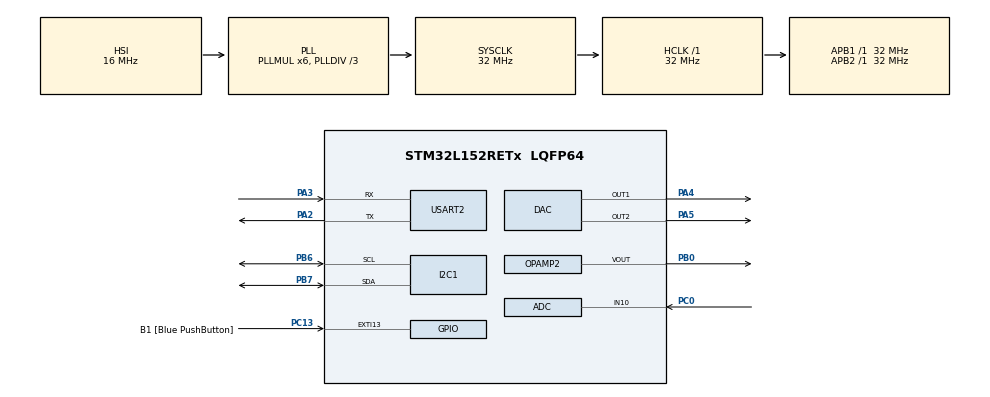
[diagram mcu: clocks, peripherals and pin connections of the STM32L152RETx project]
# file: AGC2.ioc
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ADC.Channel-83\#ChannelRegularConversion=ADC_CHANNEL_10
ADC.NbrOfConversionFlag=1
ADC.Rank-83\#ChannelRegularConversion=1
ADC.SamplingTime-83\#ChannelRegularConversion=ADC_SAMPLETIME_4CYCLES
FREERTOS.Mutexes01=UART_Mutex,Dynamic,NULL
FREERTOS.Tasks01=AGCTask,0,128,StartAGCTask,Default,NULL,Dynamic,NULL,NULL;ScienceTask,-3,128,StartScienceTask,Default,NULL,Dynamic,NULL,NULL
Mcu.Family=STM32L1
Mcu.Name=STM32L152RETx
Mcu.Package=LQFP64
NVIC.PriorityGroup=NVIC_PRIORITYGROUP_4
NVIC.TIM3_IRQn=true\:0\:0\:false\:false\:true\:false\:false
NVIC.TimeBase=TIM3_IRQn
NVIC.TimeBaseIP=TIM3
PA0-WKUP1.Mode=SYS_WakeUp0
PA0-WKUP1.Signal=SYS_WKUP1
PA13.GPIO_Label=TMS
PA13.Mode=Serial_Wire
PA13.Signal=SYS_JTMS-SWDIO
PA14.GPIO_Label=TCK
PA14.Mode=Serial_Wire
PA14.Signal=SYS_JTCK-SWCLK
PA2.Mode=Asynchronous
PA2.Signal=USART2_TX
PA3.Mode=Asynchronous
PA3.Signal=USART2_RX
PA4.Signal=COMP_DAC1_group
PA5.Signal=COMP_DAC2_group
PB0.Mode=Follower-DAC_OUT2-INP
PB0.Signal=OPAMP2_VOUT
PB3.GPIO_Label=SWO
PB3.Signal=SYS_JTDO-TRACESWO
PB6.Mode=I2C
PB6.Signal=I2C1_SCL
PB7.Mode=I2C
PB7.Signal=I2C1_SDA
PC0.Mode=IN10
PC0.Signal=ADC_IN10
PC13-WKUP2.GPIO_Label=B1 [Blue PushButton]
PC13-WKUP2.Signal=GPXTI13
PC14-OSC32_IN.Signal=RCC_OSC32_IN
PC15-OSC32_OUT.Signal=RCC_OSC32_OUT
PH0-OSC_IN.Signal=RCC_OSC_IN
PH1-OSC_OUT.Signal=RCC_OSC_OUT
ProjectManager.HeapSize=0x200
ProjectManager.StackSize=0x400
ProjectManager.TargetToolchain=MDK-ARM V5
RCC.48MHZClocksFreq_Value=48000000
RCC.AHBFreq_Value=32000000
RCC.APB1Freq_Value=32000000
RCC.APB1TimFreq_Value=32000000
RCC.APB2Freq_Value=32000000
RCC.APB2TimFreq_Value=32000000
RCC.HCLKFreq_Value=32000000
RCC.HSE_VALUE=8000000
RCC.HSI_VALUE=16000000
RCC.LSE_VALUE=32768
RCC.MSI_VALUE=2097000
RCC.PLLDIV=RCC_PLL_DIV3
RCC.PLLMUL=RCC_PLL_MUL6
RCC.RTCClockSelectionVirtual=RCC_RTCCLKSOURCE_LSE
RCC.SYSCLKFreq_VALUE=32000000
RCC.SYSCLKSource=RCC_SYSCLKSOURCE_PLLCLK
RCC.USBOutput=48000000
RCC.VCOOutputFreq_Value=96000000
SH.COMP_DAC1_group.0=DAC_OUT1,DAC_OUT1
SH.COMP_DAC2_group.0=DAC_OUT2,DAC_OUT2
USART2.VirtualMode=VM_ASYNC
VP_FREERTOS_VS_ENABLE.Mode=Enabled
VP_SYS_VS_tim3.Mode=TIM3
VP_TIM11_VS_ClockSourceINT.Mode=Internal
board=NUCLEO-L152RE

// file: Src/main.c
/* USER CODE BEGIN Header */
/**
  ******************************************************************************
  * @file           : main.c
  * @brief          : Main program body
  ******************************************************************************
  * This notice applies to any and all portions of this file
  * that are not between comment pairs USER CODE BEGIN and
  * USER CODE END. Other portions of this file, whether
  * inserted by the user or by software development tools
  * are owned by their respective copyright owners.
  *
  * Copyright (c) 2019 STMicroelectronics International N.V.
  * All rights reserved.
  *
  * Redistribution and use in source and binary forms, with or without
  * modification, are permitted, provided that the following conditions are met:
  *
  * 1. Redistribution of source code must retain the above copyright notice,
  *    this list of conditions and the following disclaimer.
  * 2. Redistributions in binary form must reproduce the above copyright notice,
  *    this list of conditions and the following disclaimer in the documentation
  *    and/or other materials provided with the distribution.
  * 3. Neither the name of STMicroelectronics nor the names of other
  *    contributors to this software may be used to endorse or promote products
  *    derived from this software without specific written permission.
  * 4. This software, including modifications and/or derivative works of this
  *    software, must execute solely and exclusively on microcontroller or
  *    microprocessor devices manufactured by or for STMicroelectronics.
  * 5. Redistribution and use of this software other than as permitted under
  *    this license is void and will automatically terminate your rights under
  *    this license.
  *
  * THIS SOFTWARE IS PROVIDED BY STMICROELECTRONICS AND CONTRIBUTORS "AS IS"
  * AND ANY EXPRESS, IMPLIED OR STATUTORY WARRANTIES, INCLUDING, BUT NOT
  * LIMITED TO, THE IMPLIED WARRANTIES OF MERCHANTABILITY, FITNESS FOR A
  * PARTICULAR PURPOSE AND NON-INFRINGEMENT OF THIRD PARTY INTELLECTUAL PROPERTY
  * RIGHTS ARE DISCLAIMED TO THE FULLEST EXTENT PERMITTED BY LAW. IN NO EVENT
  * SHALL STMICROELECTRONICS OR CONTRIBUTORS BE LIABLE FOR ANY DIRECT, INDIRECT,
  * INCIDENTAL, SPECIAL, EXEMPLARY, OR CONSEQUENTIAL DAMAGES (INCLUDING, BUT NOT
  * LIMITED TO, PROCUREMENT OF SUBSTITUTE GOODS OR SERVICES; LOSS OF USE, DATA,
  * OR PROFITS; OR BUSINESS INTERRUPTION) HOWEVER CAUSED AND ON ANY THEORY OF
  * LIABILITY, WHETHER IN CONTRACT, STRICT LIABILITY, OR TORT (INCLUDING
  * NEGLIGENCE OR OTHERWISE) ARISING IN ANY WAY OUT OF THE USE OF THIS SOFTWARE,
  * EVEN IF ADVISED OF THE POSSIBILITY OF SUCH DAMAGE.
  *
  ******************************************************************************
  */
/* USER CODE END Header */

#include "main.h"
#include "cmsis_os.h"
#include "adc.h"
#include "dac.h"
#include "i2c.h"
#include "opamp.h"
#include "tim.h"
#include "usart.h"
#include "gpio.h"

void SystemClock_Config(void);
void MX_FREERTOS_Init(void);

int main(void)
{

  /* MCU Configuration--------------------------------------------------------*/

  /* Reset of all peripherals, Initializes the Flash interface and the Systick. */
  HAL_Init();

  /* Configure the system clock */
  SystemClock_Config();

  /* USER CODE BEGIN SysInit */
	__HAL_RCC_DAC_CLK_ENABLE();
  /* USER CODE END SysInit */

  /* Initialize all configured peripherals */
  MX_GPIO_Init();
  MX_DAC_Init();
  MX_OPAMP2_Init();
  MX_ADC_Init();
  MX_USART2_UART_Init();
  MX_TIM11_Init();
  MX_I2C1_Init();

  /* Call init function for freertos objects (in freertos.c) */
  MX_FREERTOS_Init();

  /* Start scheduler */
  osKernelStart();

  /* We should never get here as control is now taken by the scheduler */

  /* Infinite loop */
  while (1)
  {

  }
}

void SystemClock_Config(void)
{
  RCC_OscInitTypeDef RCC_OscInitStruct = {0};
  RCC_ClkInitTypeDef RCC_ClkInitStruct = {0};

  /**Configure the main internal regulator output voltage
  */
  __HAL_PWR_VOLTAGESCALING_CONFIG(PWR_REGULATOR_VOLTAGE_SCALE1);
  /**Initializes the CPU, AHB and APB busses clocks
  */
  RCC_OscInitStruct.OscillatorType = RCC_OSCILLATORTYPE_HSI;
  RCC_OscInitStruct.HSIState = RCC_HSI_ON;
  RCC_OscInitStruct.HSICalibrationValue = RCC_HSICALIBRATION_DEFAULT;
  RCC_OscInitStruct.PLL.PLLState = RCC_PLL_ON;
  RCC_OscInitStruct.PLL.PLLSource = RCC_PLLSOURCE_HSI;
  RCC_OscInitStruct.PLL.PLLMUL = RCC_PLL_MUL6;
  RCC_OscInitStruct.PLL.PLLDIV = RCC_PLL_DIV3;
  if (HAL_RCC_OscConfig(&RCC_OscInitStruct) != HAL_OK)
  {
    Error_Handler();
  }
  /**Initializes the CPU, AHB and APB busses clocks
  */
  RCC_ClkInitStruct.ClockType = RCC_CLOCKTYPE_HCLK|RCC_CLOCKTYPE_SYSCLK
                              |RCC_CLOCKTYPE_PCLK1|RCC_CLOCKTYPE_PCLK2;
  RCC_ClkInitStruct.SYSCLKSource = RCC_SYSCLKSOURCE_PLLCLK;
  RCC_ClkInitStruct.AHBCLKDivider = RCC_SYSCLK_DIV1;
  RCC_ClkInitStruct.APB1CLKDivider = RCC_HCLK_DIV1;
  RCC_ClkInitStruct.APB2CLKDivider = RCC_HCLK_DIV1;

  if (HAL_RCC_ClockConfig(&RCC_ClkInitStruct, FLASH_LATENCY_1) != HAL_OK)
  {
    Error_Handler();
  }
}

/* USER CODE BEGIN 4 */
void vprint(const char *fmt, va_list argp) {
    char string[400];
    if(0 < vsprintf(string,fmt,argp)) // build string
    {
        HAL_UART_Transmit(&huart2, (uint8_t*)string, strlen(string), 1000); // send message via UART
    }
}

void my_printf(const char *fmt, ...) // custom printf() function
{
	/*
    va_list argp;
    va_start(argp, fmt);
    vprint(fmt, argp);
    va_end(argp);
	*/
}
/* USER CODE END 4 */

void HAL_TIM_PeriodElapsedCallback(TIM_HandleTypeDef *htim)
{
  if (htim->Instance == TIM3) {
    HAL_IncTick();
  }
}

void Error_Handler(void)
{
}

/************************ (C) COPYRIGHT STMicroelectronics *****END OF FILE****/

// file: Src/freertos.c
/* USER CODE BEGIN Header */
/**
  ******************************************************************************
  * File Name          : freertos.c
  * Description        : Code for freertos applications
  ******************************************************************************
  * This notice applies to any and all portions of this file
  * that are not between comment pairs USER CODE BEGIN and
  * USER CODE END. Other portions of this file, whether
  * inserted by the user or by software development tools
  * are owned by their respective copyright owners.
  *
  * Copyright (c) 2019 STMicroelectronics International N.V.
  * All rights reserved.
  *
  * Redistribution and use in source and binary forms, with or without
  * modification, are permitted, provided that the following conditions are met:
  *
  * 1. Redistribution of source code must retain the above copyright notice,
  *    this list of conditions and the following disclaimer.
  * 2. Redistributions in binary form must reproduce the above copyright notice,
  *    this list of conditions and the following disclaimer in the documentation
  *    and/or other materials provided with the distribution.
  * 3. Neither the name of STMicroelectronics nor the names of other
  *    contributors to this software may be used to endorse or promote products
  *    derived from this software without specific written permission.
  * 4. This software, including modifications and/or derivative works of this
  *    software, must execute solely and exclusively on microcontroller or
  *    microprocessor devices manufactured by or for STMicroelectronics.
  * 5. Redistribution and use of this software other than as permitted under
  *    this license is void and will automatically terminate your rights under
  *    this license.
  *
  * THIS SOFTWARE IS PROVIDED BY STMICROELECTRONICS AND CONTRIBUTORS "AS IS"
  * AND ANY EXPRESS, IMPLIED OR STATUTORY WARRANTIES, INCLUDING, BUT NOT
  * LIMITED TO, THE IMPLIED WARRANTIES OF MERCHANTABILITY, FITNESS FOR A
  * PARTICULAR PURPOSE AND NON-INFRINGEMENT OF THIRD PARTY INTELLECTUAL PROPERTY
  * RIGHTS ARE DISCLAIMED TO THE FULLEST EXTENT PERMITTED BY LAW. IN NO EVENT
  * SHALL STMICROELECTRONICS OR CONTRIBUTORS BE LIABLE FOR ANY DIRECT, INDIRECT,
  * INCIDENTAL, SPECIAL, EXEMPLARY, OR CONSEQUENTIAL DAMAGES (INCLUDING, BUT NOT
  * LIMITED TO, PROCUREMENT OF SUBSTITUTE GOODS OR SERVICES; LOSS OF USE, DATA,
  * OR PROFITS; OR BUSINESS INTERRUPTION) HOWEVER CAUSED AND ON ANY THEORY OF
  * LIABILITY, WHETHER IN CONTRACT, STRICT LIABILITY, OR TORT (INCLUDING
  * NEGLIGENCE OR OTHERWISE) ARISING IN ANY WAY OUT OF THE USE OF THIS SOFTWARE,
  * EVEN IF ADVISED OF THE POSSIBILITY OF SUCH DAMAGE.
  *
  ******************************************************************************
  */
/* USER CODE END Header */

#include "FreeRTOS.h"
#include "task.h"
#include "main.h"
#include "cmsis_os.h"

/* USER CODE BEGIN Includes */
#include "agc.h"
#include "i2c.h"
#include "usart.h"

#include "FRAM_Lib.h"
#include "FRAM_Tests.h"
#include <stdlib.h>
/* USER CODE END Includes */

/* USER CODE BEGIN Variables */
//osThreadId AGCTaskHandle;
/* USER CODE END Variables */
osThreadId AGCTaskHandle;
osThreadId ScienceTaskHandle;
osMutexId UART_MutexHandle;

/* USER CODE BEGIN FunctionPrototypes */
//void StartAGCTask(void const * argument);
/* USER CODE END FunctionPrototypes */

void StartAGCTask(void const * argument);
void StartScienceTask(void const * argument);

void MX_FREERTOS_Init(void); /* (MISRA C 2004 rule 8.1) */

void MX_FREERTOS_Init(void) {

  /* Create the mutex(es) */
  /* definition and creation of UART_Mutex */
  osMutexDef(UART_Mutex);
  UART_MutexHandle = osMutexCreate(osMutex(UART_Mutex));

  /* Create the thread(s) */
  /* definition and creation of ScienceTask */
	osThreadDef(ScienceTask, StartScienceTask, osPriorityNormal, 0, 128);
  ScienceTaskHandle = osThreadCreate(osThread(ScienceTask), NULL);
  /* definition and creation of AGCTask */
  osThreadDef(AGCTask, StartAGCTask, osPriorityNormal, 0, 128);
  AGCTaskHandle = osThreadCreate(osThread(AGCTask), NULL);

  /* USER CODE BEGIN RTOS_THREADS */
  //osThreadDef(AGCTask, StartAGCTask, osPriorityNormal, 0, 128);
  //AGCTaskHandle = osThreadCreate(osThread(AGCTask), NULL);
  /* USER CODE END RTOS_THREADS */

}

//void StartAGCTask(void const * argument)
//{

//  /* USER CODE BEGIN StartAGCTask */
//  /* Infinite loop */
//  for(;;)
//  {
//    osDelay(1);
//  }
//  /* USER CODE END StartAGCTask */
//}

void StartScienceTask(void const * argument)
{
  /* USER CODE BEGIN StartScienceTask */
	uint8_t SCIENCE[8] = "Science\n";
	xSemaphoreTake(UART_MutexHandle, portMAX_DELAY);
	HAL_UART_Transmit(&huart2,SCIENCE,8,10);
	xSemaphoreGive(UART_MutexHandle);
	FRAM_Test(&hi2c1,&huart2);

  /* Infinite loop */
  for(;;)
  {
    osDelay(1);
  }
  /* USER CODE END StartScienceTask */
}

/* USER CODE BEGIN Application */
void StartAGCTask(void const * argument) {

	uint8_t AGC[8] = "AGC\n";
	xSemaphoreTake(UART_MutexHandle, portMAX_DELAY);
	HAL_UART_Transmit(&huart2,AGC,4,10);
	xSemaphoreGive(UART_MutexHandle);

	// initialize AGC stuff
	xSemaphoreTake(UART_MutexHandle, portMAX_DELAY);
	AGC_Init();
	xSemaphoreGive(UART_MutexHandle);

	for (;;) {
		// handle events as they come
		xSemaphoreTake(UART_MutexHandle, portMAX_DELAY);
		AGC_DoEvent();
		xSemaphoreGive(UART_MutexHandle);
	}
}
/* USER CODE END Application */

/************************ (C) COPYRIGHT STMicroelectronics *****END OF FILE****/
